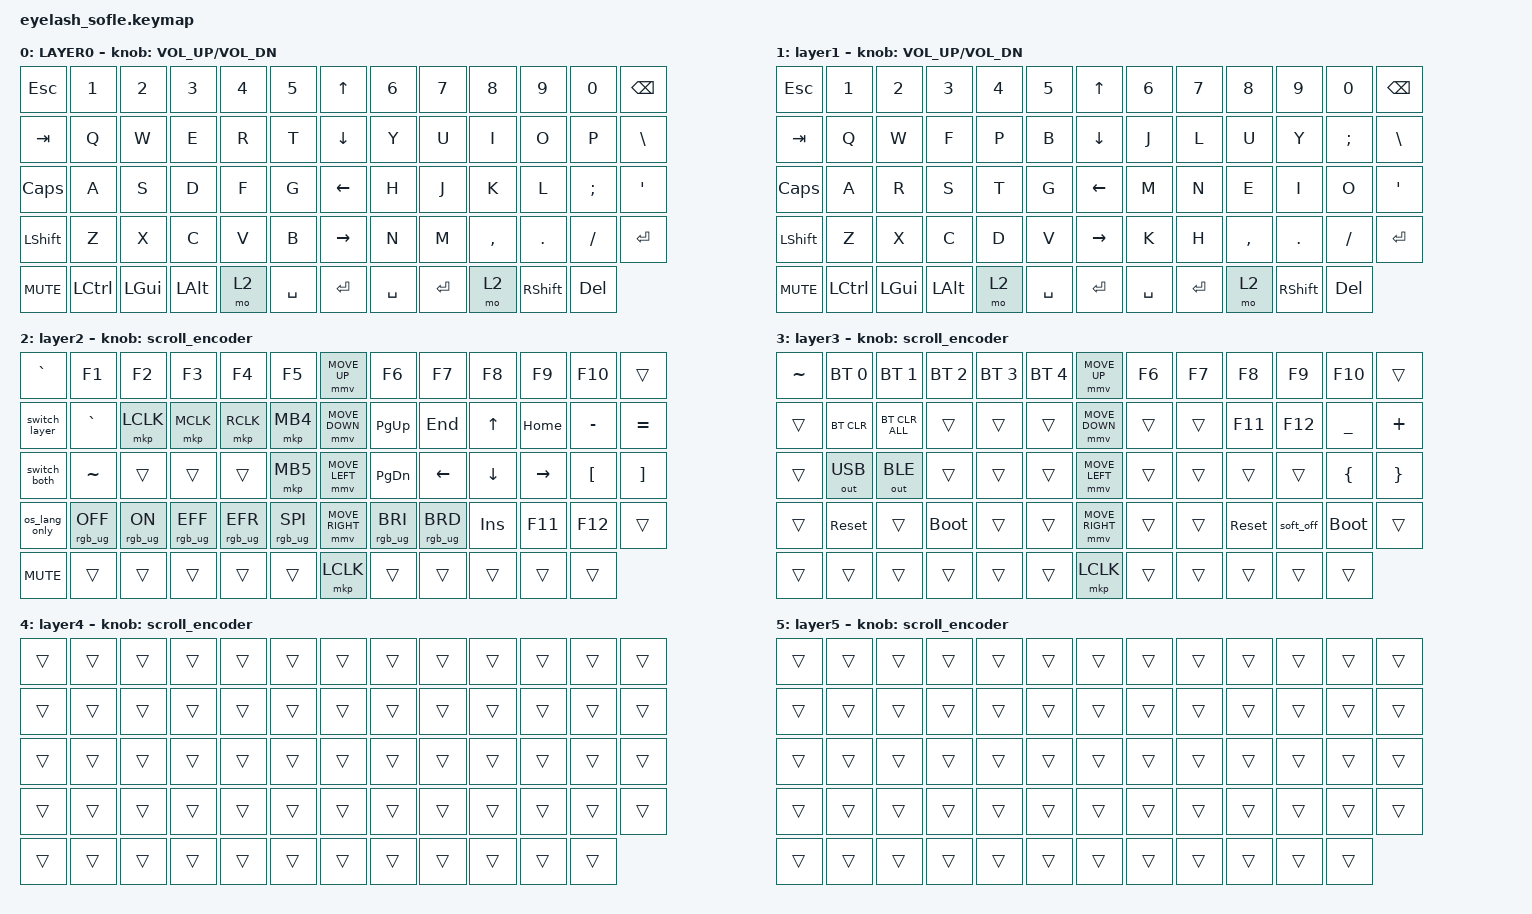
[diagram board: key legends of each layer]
#define ZMK_POINTING_DEFAULT_MOVE_VAL 1200  // 600
#define ZMK_POINTING_DEFAULT_SCRL_VAL 25   // 10

#include <input/processors.dtsi>
#include <zephyr/dt-bindings/input/input-event-codes.h>
#include <behaviors.dtsi>
#include <dt-bindings/zmk/bt.h>
#include <dt-bindings/zmk/keys.h>
#include <dt-bindings/zmk/outputs.h>
#include <dt-bindings/zmk/pointing.h>
#include <dt-bindings/zmk/rgb.h>

&mmv_input_listener { input-processors = <&zip_xy_scaler 2 1>; };

&msc_input_listener { input-processors = <&zip_scroll_scaler 2 1>; };

&msc {
    acceleration-exponent = <1>;      // 0
    time-to-max-speed-ms = <100>;       // 300
    delay-ms = <0>;                   // 0
};

&mmv {
    time-to-max-speed-ms = <500>;
    acceleration-exponent = <1>;
    trigger-period-ms = <16>;
};

&soft_off { hold-time-ms = <2000>; };

/ {
    scroll_encoder: scroll_encoder {
        compatible = "zmk,behavior-sensor-rotate";
        #sensor-binding-cells = <0>;
        bindings = <&msc SCRL_DOWN>, <&msc SCRL_UP>;

        tap-ms = <100>;
    };

    behaviors {
    };

    macros {
        // Переключает только ОС (для ресинхронизации)
        os_lang_only: os_lang_only {
            compatible = "zmk,behavior-macro";
            #binding-cells = <0>;
            bindings = 
                <&macro_press &kp LALT>,
                <&macro_tap &kp LSHIFT>,
                <&macro_release &kp LALT>;
        };
        
        // Переключает слой И ОС
        switch_both: switch_both {
            compatible = "zmk,behavior-macro";
            #binding-cells = <0>;
            bindings = 
                <&macro_press &tog 1 &kp LALT>,
                <&macro_tap &kp LSHIFT>,
                <&macro_pause_for_release>,
                <&macro_release &tog 1 &kp LALT>;
        };
        // Переключает слой
        switch_layer: switch_layer {
            compatible = "zmk,behavior-macro";
            #binding-cells = <0>;
            bindings = 
                <&macro_press &tog 1>,
                <&macro_pause_for_release>,
                <&macro_release &tog 1>;
        };
    };

    combos {
        compatible = "zmk,combos";

        softoff {
            bindings = <&soft_off>;
            key-positions = <14 28 40>;
        };
    };

    keymap {
        compatible = "zmk,keymap";

        layer0 {
            bindings = <
&kp ESC     &kp N1     &kp N2        &kp N3        &kp N4  &kp N5       &kp UP_ARROW     &kp N6     &kp N7     &kp N8     &kp N9           &kp N0      &kp BACKSPACE
&kp TAB     &kp Q      &kp W         &kp E         &kp R   &kp T        &kp DOWN_ARROW   &kp Y      &kp U      &kp I      &kp O            &kp P       &kp BSLH
&kp CAPS    &kp A      &kp S         &kp D         &kp F   &kp G        &kp LEFT_ARROW   &kp H      &kp J      &kp K      &kp L            &kp SEMI    &kp APOS
&kp LSHFT   &kp Z      &kp X         &kp C         &kp V   &kp B        &kp RIGHT_ARROW  &kp N      &kp M      &kp COMMA  &kp DOT          &kp FSLH    &kp ENTER
&kp C_MUTE  &kp LCTRL  &kp LEFT_GUI  &kp LEFT_ALT  &mo 2   &kp SPACE    &kp ENTER        &kp SPACE  &kp ENTER  &mo 2      &kp RIGHT_SHIFT  &kp DELETE
            >;

            sensor-bindings = <&inc_dec_kp C_VOLUME_UP C_VOL_DN>;
            display-name = "LAYER0";
        };
        layer1 {
            bindings = <
&kp ESC     &kp N1     &kp N2        &kp N3        &kp N4  &kp N5       &kp UP_ARROW     &kp N6     &kp N7     &kp N8     &kp N9           &kp N0      &kp BACKSPACE
&kp TAB     &kp Q      &kp W         &kp F         &kp P   &kp B        &kp DOWN_ARROW   &kp J      &kp L      &kp U      &kp Y            &kp SEMI    &kp BSLH
&kp CAPS    &kp A      &kp R         &kp S         &kp T   &kp G        &kp LEFT_ARROW   &kp M      &kp N      &kp E      &kp I            &kp O       &kp APOS
&kp LSHFT   &kp Z      &kp X         &kp C         &kp D   &kp V        &kp RIGHT_ARROW  &kp K      &kp H      &kp COMMA  &kp DOT          &kp FSLH    &kp ENTER
&kp C_MUTE  &kp LCTRL  &kp LEFT_GUI  &kp LEFT_ALT  &mo 2   &kp SPACE    &kp ENTER        &kp SPACE  &kp ENTER  &mo 2      &kp RIGHT_SHIFT  &kp DELETE
            >;

            sensor-bindings = <&inc_dec_kp C_VOLUME_UP C_VOL_DN>;
            display-name = "layer1";
        };
        layer_2 {
            bindings = <
&kp GRAVE                    &kp F1           &kp F2          &kp F3           &kp F4           &kp F5             &mmv MOVE_UP     &kp F6           &kp F7           &kp F8      &kp F9     &kp F10           &trans
&switch_layer                &kp GRAVE        &mkp LCLK       &mkp MCLK        &mkp RCLK        &mkp MB4           &mmv MOVE_DOWN   &kp PG_UP        &kp END          &kp UP      &kp HOME   &kp MINUS         &kp EQUAL
&switch_both                 &kp TILDE        &trans          &trans           &trans           &mkp MB5           &mmv MOVE_LEFT   &kp PG_DN        &kp LEFT         &kp DOWN    &kp RIGHT  &kp LEFT_BRACKET  &kp RIGHT_BRACKET
&os_lang_only                &rgb_ug RGB_OFF  &rgb_ug RGB_ON  &rgb_ug RGB_EFF  &rgb_ug RGB_EFR  &rgb_ug RGB_SPI    &mmv MOVE_RIGHT  &rgb_ug RGB_BRI  &rgb_ug RGB_BRD  &kp INSERT  &kp F11    &kp F12           &trans
&kp C_MUTE                   &trans           &trans          &trans           &trans           &trans             &mkp LCLK        &trans           &trans           &trans      &trans     &trans
            >;

            display-name = "layer2";
            sensor-bindings = <&scroll_encoder>;
        };

        layer_3 {
            bindings = <
&kp TILDE  &bt BT_SEL 0  &bt BT_SEL 1    &bt BT_SEL 2  &bt BT_SEL 3  &bt BT_SEL 4    &mmv MOVE_UP     &kp F6  &kp F7  &kp F8      &kp F9     &kp F10      &trans
&trans     &bt BT_CLR    &bt BT_CLR_ALL  &trans        &trans        &trans          &mmv MOVE_DOWN   &trans  &trans  &kp F11     &kp F12    &kp UNDER    &kp PLUS
&trans     &out OUT_USB  &out OUT_BLE    &trans        &trans        &trans          &mmv MOVE_LEFT   &trans  &trans  &trans      &trans     &kp LBRC     &kp RBRC
&trans     &sys_reset    &trans          &bootloader   &trans        &trans          &mmv MOVE_RIGHT  &trans  &trans  &sys_reset  &soft_off  &bootloader  &trans
&trans     &trans        &trans          &trans        &trans        &trans          &mkp LCLK        &trans  &trans  &trans      &trans     &trans
            >;

            display-name = "layer3";
            sensor-bindings = <&scroll_encoder>;
        };

        layer_4 {
            bindings = <
&trans  &trans  &trans  &trans  &trans  &trans    &trans  &trans  &trans  &trans  &trans  &trans  &trans
&trans  &trans  &trans  &trans  &trans  &trans    &trans  &trans  &trans  &trans  &trans  &trans  &trans
&trans  &trans  &trans  &trans  &trans  &trans    &trans  &trans  &trans  &trans  &trans  &trans  &trans
&trans  &trans  &trans  &trans  &trans  &trans    &trans  &trans  &trans  &trans  &trans  &trans  &trans
&trans  &trans  &trans  &trans  &trans  &trans    &trans  &trans  &trans  &trans  &trans  &trans
            >;

            display-name = "layer4";
            sensor-bindings = <&scroll_encoder>;
        };

        layer_5 {
            bindings = <
&trans  &trans  &trans  &trans  &trans  &trans    &trans  &trans  &trans  &trans  &trans  &trans  &trans
&trans  &trans  &trans  &trans  &trans  &trans    &trans  &trans  &trans  &trans  &trans  &trans  &trans
&trans  &trans  &trans  &trans  &trans  &trans    &trans  &trans  &trans  &trans  &trans  &trans  &trans
&trans  &trans  &trans  &trans  &trans  &trans    &trans  &trans  &trans  &trans  &trans  &trans  &trans
&trans  &trans  &trans  &trans  &trans  &trans    &trans  &trans  &trans  &trans  &trans  &trans
            >;

            display-name = "layer5";
            sensor-bindings = <&scroll_encoder>;
        };
    };
};
